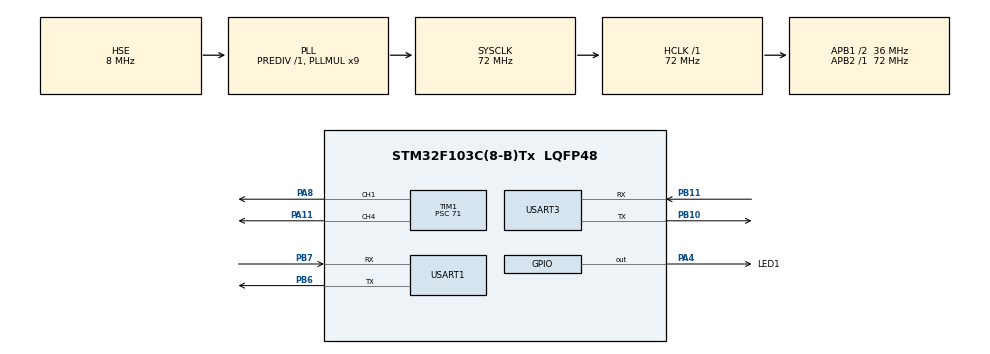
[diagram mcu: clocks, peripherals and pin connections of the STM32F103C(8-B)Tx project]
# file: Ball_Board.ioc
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Mcu.Family=STM32F1
Mcu.Name=STM32F103C(8-B)Tx
Mcu.Package=LQFP48
NVIC.PriorityGroup=NVIC_PRIORITYGROUP_4
NVIC.TIM2_IRQn=true\:0\:0\:false\:false\:true\:true\:true
NVIC.USART1_IRQn=true\:0\:0\:false\:false\:true\:true\:true
NVIC.USART3_IRQn=true\:0\:0\:false\:false\:true\:true\:true
PA11.GPIO_Speed=GPIO_SPEED_FREQ_HIGH
PA11.Signal=S_TIM1_CH4
PA13.Mode=Serial_Wire
PA13.Signal=SYS_JTMS-SWDIO
PA14.Mode=Serial_Wire
PA14.Signal=SYS_JTCK-SWCLK
PA4.GPIO_Label=LED1
PA4.GPIO_ModeDefaultOutputPP=GPIO_MODE_OUTPUT_PP
PA4.GPIO_PuPd=GPIO_PULLDOWN
PA4.GPIO_Speed=GPIO_SPEED_FREQ_LOW
PA4.PinState=GPIO_PIN_RESET
PA4.Signal=GPIO_Output
PA8.Signal=S_TIM1_CH1
PB10.Mode=Asynchronous
PB10.Signal=USART3_TX
PB11.Mode=Asynchronous
PB11.Signal=USART3_RX
PB6.Mode=Asynchronous
PB6.Signal=USART1_TX
PB7.Mode=Asynchronous
PB7.Signal=USART1_RX
PD0-OSC_IN.Mode=HSE-External-Oscillator
PD0-OSC_IN.Signal=RCC_OSC_IN
PD1-OSC_OUT.Mode=HSE-External-Oscillator
PD1-OSC_OUT.Signal=RCC_OSC_OUT
ProjectManager.HeapSize=0x200
ProjectManager.StackSize=0x400
ProjectManager.TargetToolchain=MDK-ARM V5.27
RCC.AHBFreq_Value=72000000
RCC.APB1CLKDivider=RCC_HCLK_DIV2
RCC.APB1Freq_Value=36000000
RCC.APB1TimFreq_Value=72000000
RCC.APB2Freq_Value=72000000
RCC.APB2TimFreq_Value=72000000
RCC.HCLKFreq_Value=72000000
RCC.PLLMUL=RCC_PLL_MUL9
RCC.PLLSourceVirtual=RCC_PLLSOURCE_HSE
RCC.SYSCLKFreq_VALUE=72000000
RCC.SYSCLKSource=RCC_SYSCLKSOURCE_PLLCLK
RCC.TimSys_Div=SYSTICK_CLKSOURCE_HCLK_DIV8
RCC.USBFreq_Value=72000000
SH.S_TIM1_CH1.0=TIM1_CH1,PWM Generation1 CH1
SH.S_TIM1_CH4.0=TIM1_CH4,PWM Generation4 CH4
TIM1.Channel-PWM\ Generation1\ CH1=TIM_CHANNEL_1
TIM1.Channel-PWM\ Generation4\ CH4=TIM_CHANNEL_4
TIM1.OCPolarity_4=TIM_OCPOLARITY_HIGH
TIM1.Period=19999
TIM1.Prescaler=71
TIM2.AutoReloadPreload=TIM_AUTORELOAD_PRELOAD_ENABLE
TIM2.Period=9
TIM2.Prescaler=7199
TIM4.Period=19999
TIM4.Prescaler=71
USART1.VirtualMode=VM_ASYNC
USART3.VirtualMode=VM_ASYNC
VP_TIM1_VS_ClockSourceINT.Mode=Internal
VP_TIM2_VS_ClockSourceINT.Mode=Internal
VP_TIM4_VS_ClockSourceINT.Mode=Internal
board=custom

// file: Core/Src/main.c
/* USER CODE BEGIN Header */
/**
  ******************************************************************************
  * @file           : main.c
  * @brief          : Main program body
  ******************************************************************************
  * @attention
  *
  * <h2><center>&copy; Copyright (c) 2020 STMicroelectronics.
  * All rights reserved.</center></h2>
  *
  * This software component is licensed by ST under BSD 3-Clause license,
  * the "License"; You may not use this file except in compliance with the
  * License. You may obtain a copy of the License at:
  *                        opensource.org/licenses/BSD-3-Clause
  *
  ******************************************************************************
  */
/* USER CODE END Header */
#include "main.h"
#include "tim.h"
#include "usart.h"
#include "gpio.h"

/* USER CODE BEGIN Includes */
//#include "oled.h"
#include "pid.h"
#include "DataScope_DP.h"
#include <math.h>
/* USER CODE END Includes */

/* USER CODE BEGIN PTD */
	PIDtype X_POS_pid;//定义X轴位置环
	PIDtype Y_POS_pid;//定义Y轴位置环
	PIDtype X_SPEED_pid;//定义X轴速度环
	PIDtype Y_SPEED_pid;//定义Y轴速度环
	PIDtype R_MOVE_pid;

/* USER CODE END PTD */

/* USER CODE BEGIN PD */
/*模式定义*/
#define ceter_mode  1
#define square_mode 2
#define cycle_mode 3
#define light_mode 4
#define tangular_mode 5
#define Up_mode 6
#define Down_mode 7
#define Left_mode 8
#define Right_mode 9
#define Control_mode 9

/* USER CODE END PD */

/* USER CODE BEGIN PV */
//初始化X轴、Y轴位置外环和速度内环的PID参数
//float X_POS_Kp = 0.06,X_POS_Ki = 0.001,X_POS_Kd = 0.1,X_POS_Max = 140, X_POS_Min = -140;
//float Y_POS_Kp = 0.06,Y_POS_Ki = 0.001,Y_POS_Kd = 0.1,Y_POS_Max = 140, Y_POS_Min = -140;
//float X_SPENED_Kp = 10,X_SPENED_Ki = 0,X_SPENED_Kd = 5,X_SPENED_Max = 500, X_SPENED__Min = -500;
//float Y_SPENED_Kp = 10,Y_SPENED_Ki = 0,Y_SPENED_Kd = 5,Y_SPENED_Max = 500, Y_SPENED__Min = -500;
float X_POS_Kp = 0.065,X_POS_Ki = 0,X_POS_Kd = 0,X_POS_Max = 140, X_POS_Min = -140;
float Y_POS_Kp = 0.065,Y_POS_Ki = 0,Y_POS_Kd = 0,Y_POS_Max = 140, Y_POS_Min = -140;
float X_SPENED_Kp = 6,X_SPENED_Ki = 0,X_SPENED_Kd = 2,X_SPENED_Max = 500, X_SPENED__Min = -500;
float Y_SPENED_Kp = 6,Y_SPENED_Ki = 0,Y_SPENED_Kd = 2,Y_SPENED_Max = 500, Y_SPENED__Min = -500;
float R_MOVE_Kp = 0.1,R_MOVE_Ki = 0,R_MOVE_Kd = 0,R_MOVE_Max = 150, R_MOVE__Min = 150;
//图片设置240x240
float X_Center = 150,Y_Center = 150;//定义中心点坐标
double X_Pos = 150,Y_Pos = 150;//实际坐标参数定义
float Last_X_Pos = 150,Last_Y_Pos = 150;
double Light_X_Pos=150,Light_Y_Pos = 150;//激光坐标
float X_Speed = 0, Y_Speed = 0;//标配是实际的速度
float X_Target =150,Y_Target = 150;//目标点参数定义
float X_Speed_Set=0.0,Y_Speed_Set=0.0;//位置外环得到期望速度值
float X_PWM = 0,Y_PWM = 0;//速度内环得到输出的PWM
float out1=0,out2=0;
//通信数组定义（包括是否有球/球的坐标和速度）
float X_mid = 850.0, Y_mid = 830.0;//定义PWM输出处置，保持平板处于水平位置。
uint8_t hello[] = "USART1 is ready...\n";//串口发送接收缓冲区
uint8_t recv_buf[13] = {0};
uint8_t RxByte;
uint8_t RxBuff[255];
uint8_t RxBuff_hc[255];
uint16_t Rx_Count;
uint16_t Rx_Count_hc;
uint16_t test_angle=45;
uint8_t ball=0,light=0;//判断小球是否存在，激光是否存在
long int data_count=0;
unsigned char Mode=0;//模式选择
//模式变量设置
unsigned short Mode_flag=0;
/* USER CODE END PV */

void SystemClock_Config(void);

/* USER CODE BEGIN 0 */
void OLED_show(void);
void Servo1_Control(uint16_t angle);
void Servo2_Control(uint16_t angle);
void X_Servo_Control(float pwm);
void Y_Servo_Control(float pwm);
void dealcommand(void);
void openMVDataProess(uint8_t RxByte);
void HC05DataProess(uint8_t RxByte);
void Data_Debug(void);
void Change_mode(unsigned short mode );

/* USER CODE END 0 */

int main(void)
{
  /* USER CODE BEGIN 1 */

	unsigned i;
	unsigned flag=0;
  /* USER CODE END 1 */

  /* MCU Configuration--------------------------------------------------------*/

  /* Reset of all peripherals, Initializes the Flash interface and the Systick. */
  HAL_Init();

  /* USER CODE BEGIN Init */
	PID_Init(&X_POS_pid,X_POS_Max,X_POS_Min,X_POS_Kp,X_POS_Ki,X_POS_Kd);//X轴、Y轴位置外环初始化
	PID_Init(&Y_POS_pid,Y_POS_Max,Y_POS_Min,Y_POS_Kp,Y_POS_Ki,Y_POS_Kd);
	PID_Init(&X_SPEED_pid,X_SPENED_Max,X_SPENED__Min,X_SPENED_Kp,X_SPENED_Ki,X_SPENED_Kd);//X轴、Y轴速度内环初始化
	PID_Init(&Y_SPEED_pid,Y_SPENED_Max,Y_SPENED__Min,Y_SPENED_Kp,Y_SPENED_Ki,Y_SPENED_Kd);
	PID_Init(&R_MOVE_pid,R_MOVE_Max,R_MOVE__Min,R_MOVE_Kp,R_MOVE_Ki,R_MOVE_Kd);
  /* USER CODE END Init */

  /* Configure the system clock */
  SystemClock_Config();

  /* Initialize all configured peripherals */
  MX_GPIO_Init();
  MX_TIM1_Init();
  MX_USART3_UART_Init();
  MX_USART1_UART_Init();
  MX_TIM4_Init();
  MX_TIM2_Init();
  /* USER CODE BEGIN 2 */
	HAL_TIM_PWM_Start(&htim1,TIM_CHANNEL_4);
	HAL_TIM_PWM_Start(&htim1,TIM_CHANNEL_1);
//	HAL_TIM_PWM_Start(&htim4,TIM_CHANNEL_3);
//	HAL_TIM_PWM_Start(&htim4,TIM_CHANNEL_4);
	/*使能定时器1中断*/
	HAL_TIM_Base_Start_IT(&htim2);
//	Servo1_Control(0);
//	Servo2_Control(90);
  //使能串口中断接收
//  HAL_UART_Receive_IT(&huart3, (uint8_t*)recv_buf, 13);
	HAL_UART_Receive_IT(&huart3,&RxByte,1);
	HAL_UART_Receive_IT(&huart1,&RxByte,1);
  //发送提示信息
//  HAL_UART_Transmit_IT(&huart3, (uint8_t*)hello, sizeof(hello));
//  HAL_UART_Transmit_IT(&huart1, (uint8_t*)hello, sizeof(hello));
	X_Servo_Control(X_mid);
	Y_Servo_Control(Y_mid);
  /* USER CODE END 2 */

  /* Infinite loop */
  while (1)
  {

    /* USER CODE BEGIN 3 */
// 板面运动测试代码
//		for (i=0;i<90;i++)
//		{
//		Servo1_Control(i);
//		Servo2_Control(90-i);
//		HAL_Delay(10);
//		}
//		for (i=0;i<90;i++)
//		{
//		Servo2_Control(i);
//		Servo1_Control(90-i);
//		HAL_Delay(10);
//		}
//		X_Servo_Control(X_mid);
//		Y_Servo_Control(Y_mid);
		if(getTime10MsFlag())//注意，此时其实是5ms
		{

			if(ball==1)//有小球时，进行控制。
			{
			//	Change_mode(square_mode);//模式选择
		  //Change_mode(ceter_mode);//模式选择
				Change_mode(Mode);//模式选择
				X_Speed_Set = PID_Pos_Control(&X_POS_pid,X_Pos,X_Target);//位置外环，得到期望速度。
				Y_Speed_Set = PID_Pos_Control(&Y_POS_pid,Y_Pos,Y_Target);
				if (flag==1)
				{
				Last_X_Pos = X_Pos;
				Last_Y_Pos = Y_Pos;
			  flag =0;
				}

				X_Speed=(X_Pos-Last_X_Pos);
				Y_Speed=(Y_Pos-Last_Y_Pos);
//				X_PWM = PID_SPEED_Control(&X_SPEED_pid,X_Speed,0);//内环测试
//				Y_PWM = PID_SPEED_Control(&Y_SPEED_pid,Y_Speed,0);
				X_PWM = PID_SPEED_Control(&X_SPEED_pid,X_Speed,X_Speed_Set);
				Y_PWM = PID_SPEED_Control(&Y_SPEED_pid,Y_Speed,Y_Speed_Set);
//角度转换测试代码
//			Servo1_Control(0);
//			HAL_Delay(1000);
//			Servo1_Control(45);
//			HAL_Delay(1000);
//				Servo1_Control(90);
//			HAL_Delay(1000);
//			X_Servo_Control(1499);
				//距离小于10滤波
				if(((X_Pos-X_Target)<=8)&((-X_Pos+X_Target)<=8)&((Y_Pos-Y_Target)<=8)&((-Y_Pos+Y_Target)<=8))
				{
					X_PWM=0;
					Y_PWM=0;
					X_POS_pid.errsam=0;
					Y_POS_pid.errsam=0;
				}
				out1=X_mid+X_PWM;
				out2=Y_mid-Y_PWM;
				X_Servo_Control(out1);//单是位置环
				Y_Servo_Control(out2);
				Last_X_Pos = X_Pos;
				Last_Y_Pos = Y_Pos;
				}
			else if (ball == 0)//没有小球时，板面保持水平
			{
				X_Servo_Control(X_mid);
				Y_Servo_Control(Y_mid);
				Last_X_Pos=150;
				Last_Y_Pos=150;
				X_Pos=150;
				Y_Pos=150;
				X_POS_pid.errsam=0;
				Y_POS_pid.errsam=0;
				X_POS_pid.err=0;
				X_POS_pid.last_err=0;
				X_POS_pid.prev_err=0;
				Y_POS_pid.err=0;
				Y_POS_pid.last_err=0;
				Y_POS_pid.prev_err=0;
				flag=1;
			}
			Data_Debug();//虚拟示波器
			data_count=0;//运行帧率
	  }

		if(getTimeSFlag())//运行指示灯
		{
			HAL_GPIO_TogglePin(LED1_GPIO_Port,LED1_Pin);
//			data_count=0;//运行帧率
		}

  }
  /* USER CODE END 3 */
}

void SystemClock_Config(void)
{
  RCC_OscInitTypeDef RCC_OscInitStruct = {0};
  RCC_ClkInitTypeDef RCC_ClkInitStruct = {0};

  /** Initializes the RCC Oscillators according to the specified parameters
  * in the RCC_OscInitTypeDef structure.
  */
  RCC_OscInitStruct.OscillatorType = RCC_OSCILLATORTYPE_HSE;
  RCC_OscInitStruct.HSEState = RCC_HSE_ON;
  RCC_OscInitStruct.HSEPredivValue = RCC_HSE_PREDIV_DIV1;
  RCC_OscInitStruct.HSIState = RCC_HSI_ON;
  RCC_OscInitStruct.PLL.PLLState = RCC_PLL_ON;
  RCC_OscInitStruct.PLL.PLLSource = RCC_PLLSOURCE_HSE;
  RCC_OscInitStruct.PLL.PLLMUL = RCC_PLL_MUL9;
  if (HAL_RCC_OscConfig(&RCC_OscInitStruct) != HAL_OK)
  {
    Error_Handler();
  }
  /** Initializes the CPU, AHB and APB buses clocks
  */
  RCC_ClkInitStruct.ClockType = RCC_CLOCKTYPE_HCLK|RCC_CLOCKTYPE_SYSCLK
                              |RCC_CLOCKTYPE_PCLK1|RCC_CLOCKTYPE_PCLK2;
  RCC_ClkInitStruct.SYSCLKSource = RCC_SYSCLKSOURCE_PLLCLK;
  RCC_ClkInitStruct.AHBCLKDivider = RCC_SYSCLK_DIV1;
  RCC_ClkInitStruct.APB1CLKDivider = RCC_HCLK_DIV2;
  RCC_ClkInitStruct.APB2CLKDivider = RCC_HCLK_DIV1;

  if (HAL_RCC_ClockConfig(&RCC_ClkInitStruct, FLASH_LATENCY_2) != HAL_OK)
  {
    Error_Handler();
  }
}

/* USER CODE BEGIN 4 */

void Y_Servo_Control(float pwm)
{
	if (pwm>1499)//角度变换后，角度限制只能在90°到180°之间变换
		{
		pwm = 1499;
	}
	else if (pwm<499)
	{
		pwm = 499;
	}
	__HAL_TIM_SET_COMPARE(&htim1, TIM_CHANNEL_4, (uint16_t )(2998-pwm));//因为装置原因，将角度翻转，0°对应180°，45°对应135°，90°对应90°，按此关系类推。

}
void X_Servo_Control(float pwm)
{
	if (pwm>1499)
		{
		pwm = 1499;
	}
	else if (pwm<499)
	{
		pwm = 499;
	}
	__HAL_TIM_SET_COMPARE(&htim1, TIM_CHANNEL_1, (uint16_t )(2998-pwm));//因为装置原因，将角度翻转，0°对应180°，45°对应135°，90°对应90°，按此关系类推。

}
void Servo1_Control(uint16_t angle)
{

	/*舵机参数：f=50hz，t=20ms
	--------------------------
	|0   |45 |90 |135|180|   度|
	-------------------------
	|0.5 |1.0|1.5|2.0|2.5| 毫秒|
	--------------------------
	500       1500    2500
	*/
	float temp;
	temp = (100.0/9.0)*(180-angle)+500.0;
	if (temp>2499)
		{
		temp = 2499;
	}
	else if (temp<499)
	{
		temp = 499;
	}
	__HAL_TIM_SET_COMPARE(&htim1, TIM_CHANNEL_4, (uint16_t )temp);

}
void Servo2_Control(uint16_t angle)
{

	/*舵机参数：f=50hz，t=20ms
	--------------------------
	|0   |45 |90 |135|180|   度|
	-------------------------
	|0.5 |1.0|1.5|2.0|2.5| 毫秒|
	--------------------------
	500       1500    2500
	*/
	float temp;
	temp = (100.0/9.0)*(180-angle)+500.0;
	if (temp>2499)
		{
		temp = 2499;
	}
	else if (temp<499)
	{
		temp = 499;
	}
	__HAL_TIM_SET_COMPARE(&htim1, TIM_CHANNEL_1, (uint16_t )temp);

}
void HAL_UART_RxCpltCallback(UART_HandleTypeDef *huart)
{
  /* Prevent unused argument(s) compilation warning */
  UNUSED(huart);

  /* NOTE : This function should not be modified, when the callback is needed,
            the HAL_UART_RxCpltCallback can be implemented in the user file
   */
    if(huart ->Instance == USART3)
   {
    openMVDataProess(RxByte);//串口数据处理
		while(HAL_UART_Receive_IT(&huart3,&RxByte,1)==HAL_OK);
	}
	 if(huart ->Instance == USART1)
   {
		HC05DataProess(RxByte);//串口数据处理
		while(HAL_UART_Receive_IT(&huart1,&RxByte,1)==HAL_OK);
	}
}

// 用在串口中断中处理接收到的openMV数据
// 通信格式是R(1200, 4300,ball,light)O
//
float X_pos[100]={0},Y_pos[100]={0};
	int count=0;
void openMVDataProess(uint8_t RxByte)
{
	uint16_t vas = 0;
	uint16_t i = 0;
	// R 为起始标志
		 if(RxByte == 'R'){
			Rx_Count = 0;
		}
		 		if(Rx_Count>=254)
		{
			Rx_Count=-1;
		}
		RxBuff[Rx_Count++]=RxByte;
			if(RxBuff[0] == 'R' && RxByte == 'O'){
				data_count++;//计算帧率
		// 收到一帧数据开始处理
		if(RxBuff[1] == '('){
			i = 0;
			while(RxBuff[2 + i] != ','){
				vas = (RxBuff[2 + i] - '0') + vas * 10;
				i ++;
			}
			X_Pos = vas*5/4;//乘以一个系数因子
			vas = 0;
			while(RxBuff[4 + i] != ','){
				vas = (RxBuff[4 + i] - '0') + vas * 10;
				i ++;
			}
			Y_Pos = vas*5/4;//乘以一个系数因子
			vas = 0;
			while(RxBuff[6 + i] != ','){
			vas = (RxBuff[6 + i] - '0') + vas * 10;
			i ++;
			}
			ball = vas;
			vas = 0;
			//后面加激光再添加本段代码
			while(RxBuff[8 + i] != ','){
			vas = (RxBuff[8 + i] - '0') + vas * 10;
			i ++;
			}
			Light_X_Pos = vas*5/4;//乘以一个系数因子
			vas = 0;
			while(RxBuff[10 + i] != ','){
			vas = (RxBuff[10 + i] - '0') + vas * 10;
			i ++;
			}
			Light_Y_Pos = vas*5/4;//乘以一个系数因子
			vas = 0;
			while(RxBuff[12 + i] != ')'){
				vas = (RxBuff[12 + i] - '0') + vas * 10;
				i ++;
			}
			light = vas;
			vas = 0;

		}

//		if(count==10)
//		{
//			for(i=0;i<9;i++)
//			{
//			 X_Pos+=X_pos[i];
//			 Y_Pos+=Y_pos[i];
//			}
//			X_Pos=X_Pos/9;
//			Y_Pos=Y_Pos/9;
//			count=0;
//		}

	}

}
/*HC-05蓝牙模块*/
void HC05DataProess(uint8_t RxByte)
{
	// R 为起始标志
		 if(RxByte == 0xA5){
			Rx_Count_hc = 0;
		}
		 		if(Rx_Count_hc>=254)
		{
			Rx_Count_hc=-1;
		}
		RxBuff_hc[Rx_Count_hc++]=RxByte;
		if(RxBuff_hc[0] == 0xA5 && RxByte == 0xAA){
			switch(RxBuff_hc[3])
		 {
				case 0xB2 : 					//注意前后左右移动之前回中
					Y_Target=Y_Target-30; Mode = Control_mode;
					break;
			  case 0xB4 :
					X_Target=X_Target-30;Mode = Control_mode;
					break;
			  case 0xB6 :
					X_Target=X_Target+30;Mode = Control_mode;
					break;
			  case 0xB8 :
					Y_Target=Y_Target+30;Mode = Control_mode;
					break;
			  case 0xB5 : Mode = ceter_mode;break;
//			  case 0xBA : Mode = square_mode; break;//长方形模式已经设置为方形，故这里不多余配置。
			  case 0xBB : Mode = cycle_mode; break;
			  case 0xBC : Mode = light_mode; break;
			  case 0xBA : Mode = tangular_mode ; break;
		 }

		}

}
//		//虚拟示波器

//画圆
double xcriclecos[360] = {
0.99985,0.99939,0.99863,0.99756,0.99619,0.99452,0.99255,0.99027,0.98769,0.98481,
0.98163,0.97815,0.97437,0.97030,0.96593,0.96126,0.95630,0.95106,0.94552,0.93969,
0.93358,0.92718,0.92050,0.91355,0.90631,0.89879,0.89101,0.88295,0.87462,0.86603,
0.85717,0.84805,0.83867,0.82904,0.81915,0.80902,0.79864,0.78801,0.77715,0.76604,
0.75471,0.74314,0.73135,0.71934,0.70711,0.69466,0.68200,0.66913,0.65606,0.64279,
0.62932,0.61566,0.60182,0.58779,0.57358,0.55919,0.54464,0.52992,0.51504,0.50000,
0.48481,0.46947,0.45399,0.43837,0.42262,0.40674,0.39073,0.37461,0.35837,0.34202,
0.32557,0.30902,0.29237,0.27564,0.25882,0.24192,0.22495,0.20791,0.19081,0.17365,
0.15643,0.13917,0.12187,0.10453,0.08716,0.06976,0.05234,0.03490,0.01745,0.00000,
-0.01745,-0.03490,-0.05234,-0.06976,-0.08716,-0.10453,-0.12187,-0.13917,-0.15643,-0.17365,
-0.19081,-0.20791,-0.22495,-0.24192,-0.25882,-0.27564,-0.29237,-0.30902,-0.32557,-0.34202,
-0.35837,-0.37461,-0.39073,-0.40674,-0.42262,-0.43837,-0.45399,-0.46947,-0.48481,-0.50000,
-0.51504,-0.52992,-0.54464,-0.55919,-0.57358,-0.58779,-0.60182,-0.61566,-0.62932,-0.64279,
-0.65606,-0.66913,-0.68200,-0.69466,-0.70711,-0.71934,-0.73135,-0.74314,-0.75471,-0.76604,
-0.77715,-0.78801,-0.79864,-0.80902,-0.81915,-0.82904,-0.83867,-0.84805,-0.85717,-0.86603,
-0.87462,-0.88295,-0.89101,-0.89879,-0.90631,-0.91355,-0.92050,-0.92718,-0.93358,-0.93969,
-0.94552,-0.95106,-0.95630,-0.96126,-0.96593,-0.97030,-0.97437,-0.97815,-0.98163,-0.98481,
-0.98769,-0.99027,-0.99255,-0.99452,-0.99619,-0.99756,-0.99863,-0.99939,-0.99985,-1.00000,
-0.99985,-0.99939,-0.99863,-0.99756,-0.99619,-0.99452,-0.99255,-0.99027,-0.98769,-0.98481,
-0.98163,-0.97815,-0.97437,-0.97030,-0.96593,-0.96126,-0.95630,-0.95106,-0.94552,-0.93969,
-0.93358,-0.92718,-0.92050,-0.91355,-0.90631,-0.89879,-0.89101,-0.88295,-0.87462,-0.86603,
-0.85717,-0.84805,-0.83867,-0.82904,-0.81915,-0.80902,-0.79864,-0.78801,-0.77715,-0.76604,
-0.75471,-0.74314,-0.73135,-0.71934,-0.70711,-0.69466,-0.68200,-0.66913,-0.65606,-0.64279,
-0.62932,-0.61566,-0.60182,-0.58779,-0.57358,-0.55919,-0.54464,-0.52992,-0.51504,-0.50000,
-0.48481,-0.46947,-0.45399,-0.43837,-0.42262,-0.40674,-0.39073,-0.37461,-0.35837,-0.34202,
-0.32557,-0.30902,-0.29237,-0.27564,-0.25882,-0.24192,-0.22495,-0.20791,-0.19081,-0.17365,
-0.15643,-0.13917,-0.12187,-0.10453,-0.08716,-0.06976,-0.05234,-0.03490,-0.01745,-0.00000,
0.01745,0.03490,0.05234,0.06976,0.08716,0.10453,0.12187,0.13917,0.15643,0.17365,
0.19081,0.20791,0.22495,0.24192,0.25882,0.27564,0.29237,0.30902,0.32557,0.34202,
0.35837,0.37461,0.39073,0.40674,0.42262,0.43837,0.45399,0.46947,0.48481,0.50000,
0.51504,0.52992,0.54464,0.55919,0.57358,0.58779,0.60182,0.61566,0.62932,0.64279,
0.65606,0.66913,0.68200,0.69466,0.70711,0.71934,0.73135,0.74314,0.75471,0.76604,
0.77715,0.78801,0.79864,0.80902,0.81915,0.82904,0.83867,0.84805,0.85717,0.86603,
0.87462,0.88295,0.89101,0.89879,0.90631,0.91355,0.92050,0.92718,0.93358,0.93969,
0.94552,0.95106,0.95630,0.96126,0.96593,0.97030,0.97437,0.97815,0.98163,0.98481,
0.98769,0.99027,0.99255,0.99452,0.99619,0.99756,0.99863,0.99939,0.99985,1.00000,
};

double ycriclesin[360] = {
0.01745,0.03490,0.05234,0.06976,0.08716,0.10453,0.12187,0.13917,0.15643,0.17365,
0.19081,0.20791,0.22495,0.24192,0.25882,0.27564,0.29237,0.30902,0.32557,0.34202,
0.35837,0.37461,0.39073,0.40674,0.42262,0.43837,0.45399,0.46947,0.48481,0.50000,
0.51504,0.52992,0.54464,0.55919,0.57358,0.58779,0.60182,0.61566,0.62932,0.64279,
0.65606,0.66913,0.68200,0.69466,0.70711,0.71934,0.73135,0.74314,0.75471,0.76604,
0.77715,0.78801,0.79864,0.80902,0.81915,0.82904,0.83867,0.84805,0.85717,0.86603,
0.87462,0.88295,0.89101,0.89879,0.90631,0.91355,0.92050,0.92718,0.93358,0.93969,
0.94552,0.95106,0.95630,0.96126,0.96593,0.97030,0.97437,0.97815,0.98163,0.98481,
0.98769,0.99027,0.99255,0.99452,0.99619,0.99756,0.99863,0.99939,0.99985,1.00000,
0.99985,0.99939,0.99863,0.99756,0.99619,0.99452,0.99255,0.99027,0.98769,0.98481,
0.98163,0.97815,0.97437,0.97030,0.96593,0.96126,0.95630,0.95106,0.94552,0.93969,
0.93358,0.92718,0.92050,0.91355,0.90631,0.89879,0.89101,0.88295,0.87462,0.86603,
0.85717,0.84805,0.83867,0.82904,0.81915,0.80902,0.79864,0.78801,0.77715,0.76604,
0.75471,0.74314,0.73135,0.71934,0.70711,0.69466,0.68200,0.66913,0.65606,0.64279,
0.62932,0.61566,0.60182,0.58779,0.57358,0.55919,0.54464,0.52992,0.51504,0.50000,
0.48481,0.46947,0.45399,0.43837,0.42262,0.40674,0.39073,0.37461,0.35837,0.34202,
0.32557,0.30902,0.29237,0.27564,0.25882,0.24192,0.22495,0.20791,0.19081,0.17365,
0.15643,0.13917,0.12187,0.10453,0.08716,0.06976,0.05234,0.03490,0.01745,0.00000,
-0.01745,-0.03490,-0.05234,-0.06976,-0.08716,-0.10453,-0.12187,-0.13917,-0.15643,-0.17365,
-0.19081,-0.20791,-0.22495,-0.24192,-0.25882,-0.27564,-0.29237,-0.30902,-0.32557,-0.34202,
-0.35837,-0.37461,-0.39073,-0.40674,-0.42262,-0.43837,-0.45399,-0.46947,-0.48481,-0.50000,
-0.51504,-0.52992,-0.54464,-0.55919,-0.57358,-0.58779,-0.60182,-0.61566,-0.62932,-0.64279,
-0.65606,-0.66913,-0.68200,-0.69466,-0.70711,-0.71934,-0.73135,-0.74314,-0.75471,-0.76604,
-0.77715,-0.78801,-0.79864,-0.80902,-0.81915,-0.82904,-0.83867,-0.84805,-0.85717,-0.86603,
-0.87462,-0.88295,-0.89101,-0.89879,-0.90631,-0.91355,-0.92050,-0.92718,-0.93358,-0.93969,
-0.94552,-0.95106,-0.95630,-0.96126,-0.96593,-0.97030,-0.97437,-0.97815,-0.98163,-0.98481,
-0.98769,-0.99027,-0.99255,-0.99452,-0.99619,-0.99756,-0.99863,-0.99939,-0.99985,-1.00000,
-0.99985,-0.99939,-0.99863,-0.99756,-0.99619,-0.99452,-0.99255,-0.99027,-0.98769,-0.98481,
-0.98163,-0.97815,-0.97437,-0.97030,-0.96593,-0.96126,-0.95630,-0.95106,-0.94552,-0.93969,
-0.93358,-0.92718,-0.92050,-0.91355,-0.90631,-0.89879,-0.89101,-0.88295,-0.87462,-0.86603,
-0.85717,-0.84805,-0.83867,-0.82904,-0.81915,-0.80902,-0.79864,-0.78801,-0.77715,-0.76604,
-0.75471,-0.74314,-0.73135,-0.71934,-0.70711,-0.69466,-0.68200,-0.66913,-0.65606,-0.64279,
-0.62932,-0.61566,-0.60182,-0.58779,-0.57358,-0.55919,-0.54464,-0.52992,-0.51504,-0.50000,
-0.48481,-0.46947,-0.45399,-0.43837,-0.42262,-0.40674,-0.39073,-0.37461,-0.35837,-0.34202,
-0.32557,-0.30902,-0.29237,-0.27564,-0.25882,-0.24192,-0.22495,-0.20791,-0.19081,-0.17365,
-0.15643,-0.13917,-0.12187,-0.10453,-0.08716,-0.06976,-0.05234,-0.03490,-0.01745,-0.00000,

};
void line(float set_x1,float set_y1,float set_x2,float set_y2)
{
		const  float priod = 1500.0;      //周期(毫秒)
  	static uint32_t MoveTimeCnt = 0;  //计时变量
  	float  Normalization = 0.0;       //累加值比周期值的数
	  float  set_x,set_y;
    MoveTimeCnt += 5;
	  Normalization = (float)MoveTimeCnt / priod;	 //对板球周期归一化，相当于把一条直线上设置多个目标点，不断叠加到达最终目标点。
	  if(Normalization>=1.0)
		{
		 Normalization = 1.0;
		}
    X_Target = set_x1 + ((set_x2-set_x1) * Normalization) ;
		Y_Target = set_y1 + ((set_y2-set_y1) * Normalization) ;
		X_Speed_Set = PID_Pos_Control(&X_POS_pid,X_Pos,X_Target);//位置外环，得到期望速度。
		Y_Speed_Set = PID_Pos_Control(&Y_POS_pid,Y_Pos,Y_Target);
		X_Servo_Control(X_mid+X_Speed_Set);
		Y_Servo_Control(Y_mid-Y_Speed_Set);
}
/*画长方形*/
void tangular (float set_x1,float set_y1,float set_x2,float set_y2,float set_x3,float set_y3,float set_x4,float set_y4)
{
	  const  float priod = 100.0;  //周期(毫秒)
  	static uint32_t MoveTimeCnt = 0;
  	float  Normalization = 0.0;
    float  set_x,set_y;
	  float  hc_time = 800;                          //停留过渡时间
    MoveTimeCnt += 20;							                 //每5ms运算1次

	if(MoveTimeCnt<=priod)
	{

		 Normalization = (float)MoveTimeCnt / priod;	 //对板球周期归一化
	   if(Normalization>=1.0)
		 {
		  Normalization = 1.0;
		 }
    X_Target = set_x1 + ((set_x2-set_x1) * Normalization) ;
		Y_Target = set_y1 + ((set_y2-set_y1) * Normalization) ;
	}
  else if((MoveTimeCnt>(priod+hc_time))&&(MoveTimeCnt<(2*priod+2*hc_time)))
		{
			Normalization = (float)(MoveTimeCnt-(priod+hc_time)) / priod;	 //对板球周期归一化
	   if(Normalization>=1.0)
		 {
		  Normalization = 1.0;
		 }
		X_Target = set_x2 + ((set_x3-set_x2) * Normalization) ;
		Y_Target = set_y2 + ((set_y3-set_y2) * Normalization) ;
		}
		  else if(MoveTimeCnt>(2*priod+2*hc_time)&&(MoveTimeCnt<(3*priod+3*hc_time)))
		{
			Normalization = (float)(MoveTimeCnt-(2*priod+2*hc_time)) / priod;	 //对板球周期归一化
	   if(Normalization>=1.0)
		 {
		  Normalization = 1.0;
		 }
		X_Target = set_x3 + ((set_x4-set_x3) * Normalization) ;
		Y_Target = set_y3 + ((set_y4-set_y3) * Normalization) ;
		}
		else if(MoveTimeCnt>(3*priod+3*hc_time)&&(MoveTimeCnt<(4*priod+4*hc_time)))
		{
			Normalization = (float)(MoveTimeCnt-(3*priod+3*hc_time)) / priod;	 //对板球周期归一化
	   if(Normalization>=1.0)
		 {
		  Normalization = 1.0;
		 }
		X_Target = set_x4 + ((set_x1-set_x4) * Normalization) ;
		Y_Target = set_y4 + ((set_y1-set_y4) * Normalization) ;
		}
	 else if(MoveTimeCnt>(4*priod+4*hc_time))
	 {MoveTimeCnt=0;}

}
double real_radiu=0;
float R_out=0;
void circle_move(double radiu)
{
	static double outradiu = 1;//设置输出圆
	static int criclecount = 0;
	float R_out=0;
	real_radiu=sqrt((X_Pos - X_Center)*(X_Pos - X_Center) + (Y_Pos - Y_Center)*(Y_Pos - Y_Center));
	R_out=PID_R_MOVE(&R_MOVE_pid,real_radiu,radiu);
	outradiu=outradiu+R_out;
	if (outradiu >= 150)outradiu = 150;//对球运动的半径进行限制,初始设定值为半径100.
	if (outradiu <= 0)outradiu = 1;
	X_Target = xcriclecos[criclecount] * outradiu + X_Center;//圆周运动时得到预期的坐标目标值。
	Y_Target = ycriclesin[criclecount] * outradiu + Y_Center;
	//outradiu=outradiu+PID   返回值计算 后面添加圆PID环
	criclecount += 5;//调节一次步进的角度，控制圆周运动速度
	if (criclecount >= 360)criclecount = 0;
}

unsigned char Wait_flag = 1;//在蓝牙传输时改变此变量为0，后续看是否有必要。
/*画正方形，固定点*/
void square(void)
{
			static unsigned char flag1=255,flag2;//加上蓝牙传输时后改变此变量后删除"=255"
			if(Wait_flag==0){flag1++;X_Target=50;X_Target=50;flag2=0;}//等待一段时间到达初始目标点，flag1 代表计数器
			if(flag1==255){flag1=0;Wait_flag=1;flag2=1;}

			if(flag2==5) //第五段，沿着第四条边移动
			{
				X_Target+=10;	 if(X_Target>=250)flag2=2;
			}
			if(flag2==4) //第四段，沿着第三条边移动
			{
				Y_Target-=10;	if(Y_Target<=50)flag2=5;
			}
			if(flag2==3) //第三段，沿着第二条边移动
			{
				X_Target-=10;	if(X_Target<=50)flag2=4;
			}
			if(flag2==2) //第二段，沿着第一条边移动
			{
				Y_Target+=10;	if(Y_Target>=250)flag2=3;
			}
			if(flag2==1) //第一段，沿着X轴正方向到达正方形边
			{
				X_Target+=10;	Y_Target=50; if(X_Target>=250)flag2=2;	//循环
			}
}
/*蓝牙传输模式*/

/*执行不同的模式*/
void Change_mode(unsigned short mode )
{
	if(mode == cycle_mode){X_POS_Ki=Y_POS_Ki=0;}//画圆时内环不要积分，取消掉位置环积分。
  else {X_POS_Ki=Y_POS_Ki=0.001;}
	switch(mode)
		 {
			  case ceter_mode :
					X_Target=X_Center;
					Y_Target=Y_Center;
					break;
			  case square_mode : square(); break;
			  case light_mode : X_Target = Light_X_Pos;Y_Target=Light_Y_Pos;  break;
			  case cycle_mode : circle_move(100); break;
			  case tangular_mode :tangular (50,50,250,50,250,250,50,250) ; break;
				case Control_mode: ;break;

		 }

}
//
void Data_Debug(void)
{
	unsigned char Send_Count = 0;
	unsigned char i = 0;
	DataScope_Get_Channel_Data( X_Target , 1); //将小球X坐标设定值    写入通道 1
	DataScope_Get_Channel_Data( X_Pos, 2 ); //将实际小球X坐标  写入通道 2
	DataScope_Get_Channel_Data( Y_Target , 3); //将小球Y坐标设定值    写入通道 3
	DataScope_Get_Channel_Data( Y_Pos, 4 ); //将实际小球X坐标  写入通道 4
	DataScope_Get_Channel_Data( X_Speed , 5); //将小球速度    写入通道 5/6
	DataScope_Get_Channel_Data( Y_Speed, 6 );
	DataScope_Get_Channel_Data( real_radiu , 7); //将小球速度    写入通道 5/6
	DataScope_Get_Channel_Data( data_count, 8 );
	Send_Count = DataScope_Data_Generate(8); //生成6个通道的 格式化帧数据，返回帧数据长度
	HAL_UART_Transmit_IT(&huart1, (uint8_t*)DataScope_OutPut_Buffer, Send_Count);//串口发送数据
}

/* USER CODE END 4 */

void Error_Handler(void)
{
}

/************************ (C) COPYRIGHT STMicroelectronics *****END OF FILE****/
